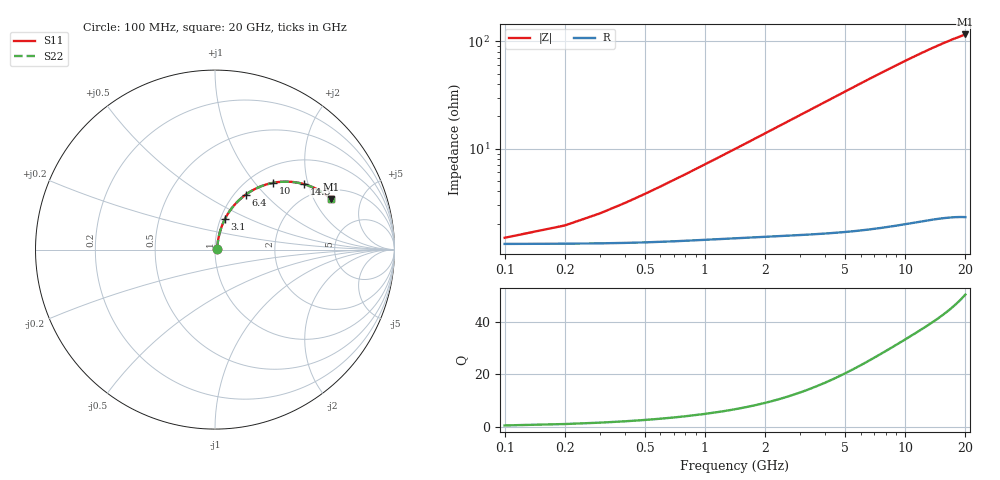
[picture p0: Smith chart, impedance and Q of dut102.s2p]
! Touchstone file exported from HFSS 2026.1.0
!  File:  C:/ffzhzh/LocalFiles/Ansys_Project_Files/temp_train_TMRDL_102_1782982290_45328.aedt
!  Generated:  04:53:05 PM Jul  2, 2026
!  Design:  TMRDL
!  Project:  temp_train_TMRDL_102_1782982290_45328
! Variables:
!  h_bsmrdl = 2um
!  h_ox = 20um
!  h_rdl = 5um
!  h_sub = 80um
!  h_tmrdl = 2.42um
!  h_tsv = 80um
!  h_via = 3um
!  l_bsmrdl = 300um
!  l_sub = 1312.02um
!  l_tmrdl = 912.02um
!  m_sub = 200um
!  pitch = 59.8um
!  r_tsv = 6um
!  s_tmrdl = 10um
!  w_bsmrdl = 18um
!  w_sub = 500um
!  w_tmrdl = 10.26um
!  x_tsv_center1 = 917.15um
!  x_tsv_center2 = 1235.15um
!  x_tsv_center3 = 2157.43um
!  x_tsv_center4 = 2475.43um
!  x_tsv_center5 = 3397.71um
!  x_tsv_center6 = 3715.71um
# GHz S MA R 50.000000
! Terminal data exported
! Port[1] = TM_RDL1_1_T1
! Port[2] = TM_RDL1_1_T2
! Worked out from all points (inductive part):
!   200 points, 100 MHz to 20 GHz, reference 50 ohm
!   read as one part in series: L = 1.11 nH near 600 MHz
!   highest Q = 50.5 at 20 GHz (marker M1), where L = 924 pH
!   S11 on the Smith chart (normalised r, x): 100 MHz: 1.03, +0.01; 3.1 GHz: 1.05, +0.38; 6.4 GHz: 1.12, +0.78; 10 GHz: 1.27, +1.25; 14.5 GHz: 1.61, +1.89; 20 GHz: 2.45, +2.76
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0.1  0.01418 25.5  0.9872 -0.4  0.9872 -0.4  0.01418 25.5
! Gamma 0 0 0 0
! Port Impedance 50 0 50 0
0.3  0.02259 53.8  0.9869 -1.3  0.9869 -1.3  0.02259 53.8
0.4  0.02789 60.4  0.9867 -1.8  0.9867 -1.8  0.02789 60.3
0.6  0.03914 67.4  0.986 -2.7  0.986 -2.7  0.03914 67.4
0.8  0.05067 70.9  0.9852 -3.5  0.9852 -3.5  0.05067 70.9
1.1  0.06807 73.3  0.9838 -4.9  0.9838 -4.9  0.06807 73.3
1.5  0.09122 74.3  0.9815 -6.6  0.9815 -6.6  0.09122 74.3
1.9  0.1143 74.3  0.9789 -8.3  0.9789 -8.3  0.1143 74.3
2.5  0.1485 73.4  0.9741 -10.8  0.9741 -10.8  0.1485 73.4
3.1  0.1821 71.8  0.9682 -13.4  0.9682 -13.4  0.1821 71.8
3.5  0.2041 70.7  0.9637 -15.0  0.9637 -15.0  0.2041 70.7
4.8  0.2728 66.4  0.9465 -20.3  0.9465 -20.3  0.2728 66.4
6.4  0.3505 60.8  0.9205 -26.6  0.9205 -26.6  0.3505 60.8
6.8  0.3687 59.4  0.9134 -28.1  0.9134 -28.1  0.3687 59.4
8.3  0.4318 54.4  0.8855 -33.5  0.8855 -33.5  0.4318 54.3
10  0.4941 48.9  0.8526 -39.2  0.8526 -39.2  0.4941 48.9
10.1  0.4974 48.6  0.8506 -39.5  0.8506 -39.5  0.4974 48.6
11.7  0.5471 43.8  0.8199 -44.4  0.8199 -44.4  0.5471 43.8
13.4  0.5919 39.1  0.7887 -49.3  0.7887 -49.3  0.5919 39.0
14.5  0.617 36.2  0.7697 -52.2  0.7697 -52.2  0.617 36.2
16.7  0.659 30.8  0.7348 -57.7  0.7348 -57.7  0.659 30.8
20  0.7056 23.6  0.6916 -65.1  0.6916 -65.1  0.7056 23.5
